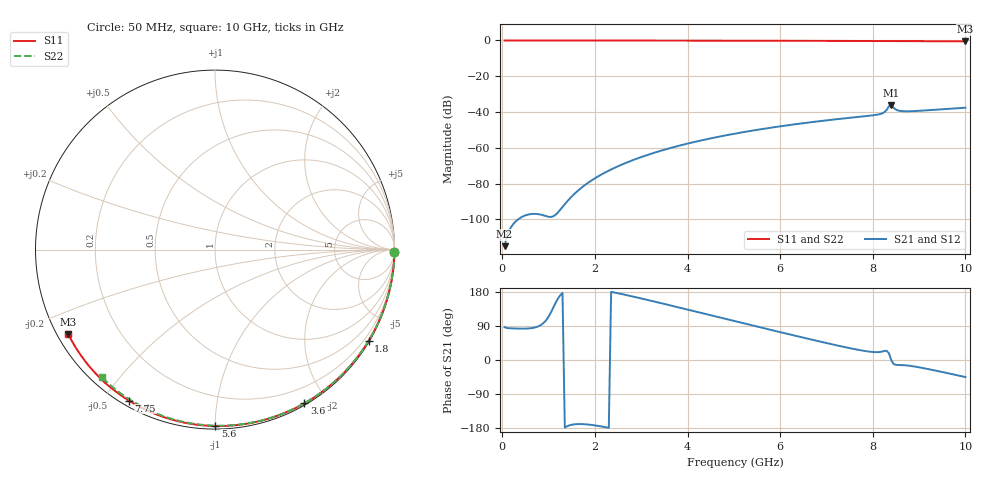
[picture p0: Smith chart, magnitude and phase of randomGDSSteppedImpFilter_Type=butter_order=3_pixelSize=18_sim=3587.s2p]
! freq	dB(S11)	phase(S11)	dB(S12)	phase(S12)
!  dB(S21)	phase(S21)	dB(S22)	phase(S22)
!S-par simulation data
#  GHz  S  DB  R 50
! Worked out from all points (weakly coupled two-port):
!   200 points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, 50 MHz to 10 GHz, reference 50 ohm
!   highest |S21| = -36.32 dB at 8.4 GHz (marker M1); lowest = -115.0 dB at 50 MHz (marker M2)
!   lowest |S11| = -0.5 dB at 10 GHz (marker M3), VSWR 34.51, Z = 1.55 - j13.4 ohm
!   |S11| at or under -10 dB: nowhere
!   |S22| runs from -0.5 to 0.0 dB; largest |S21 - S12| = 0
!   S11 on the Smith chart (normalised r, x): 50 MHz: open; 1.8 GHz: 0.03, -3.65; 3.6 GHz: 0.02, -1.74; 5.6 GHz: 0.02, -1.00; 7.75 GHz: 0.02, -0.58; 10 GHz: 0.03, -0.27
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0.05  -0.00 -0.9  -115.01 86.4  -115.01 86.4  -0.00 -0.8
0.9  -0.02 -15.5  -97.88 98.7  -97.88 98.7  -0.02 -13.6
1.75  -0.04 -29.8  -81.51 -169.3  -81.51 -169.3  -0.03 -26.3
1.8  -0.04 -30.7  -80.53 -169.7  -80.53 -169.7  -0.03 -27.0
1.85  -0.04 -31.5  -79.61 -170.3  -79.61 -170.3  -0.04 -27.7
2.2  -0.05 -37.3  -74.10 -176.6  -74.10 -176.6  -0.04 -32.8
2.55  -0.06 -43.0  -69.74 174.8  -69.74 174.8  -0.05 -37.9
2.95  -0.06 -49.5  -65.65 163.8  -65.65 163.8  -0.06 -43.6
3.4  -0.08 -56.7  -61.84 150.9  -61.84 150.9  -0.07 -50.0
3.6  -0.08 -59.8  -60.35 145.0  -60.35 145.0  -0.07 -52.8
4.3  -0.10 -70.6  -55.86 124.1  -55.86 124.1  -0.09 -62.4
5.05  -0.13 -81.8  -51.97 101.7  -51.97 101.7  -0.11 -72.4
5.6  -0.15 -89.8  -49.57 85.3  -49.57 85.3  -0.13 -79.5
6.7  -0.21 -105.4  -45.60 53.2  -45.60 53.2  -0.18 -93.3
7.75  -0.28 -119.7  -42.57 25.4  -42.57 25.4  -0.24 -106.0
8.2  -0.32 -125.7  -40.81 22.2  -40.81 22.2  -0.30 -111.6
8.3  -0.33 -127.1  -38.79 24.5  -38.79 24.5  -0.38 -113.1
8.35  -0.33 -127.7  -36.79 17.4  -36.79 17.4  -0.50 -113.5
8.4  -0.33 -128.4  -36.32 -0.8  -36.32 -0.8  -0.52 -113.0
8.5  -0.33 -129.8  -38.65 -12.8  -38.65 -12.8  -0.36 -113.9
8.7  -0.36 -132.5  -39.62 -13.9  -39.62 -13.9  -0.33 -116.6
10  -0.50 -149.9  -37.60 -45.0  -37.60 -45.0  -0.44 -131.6
